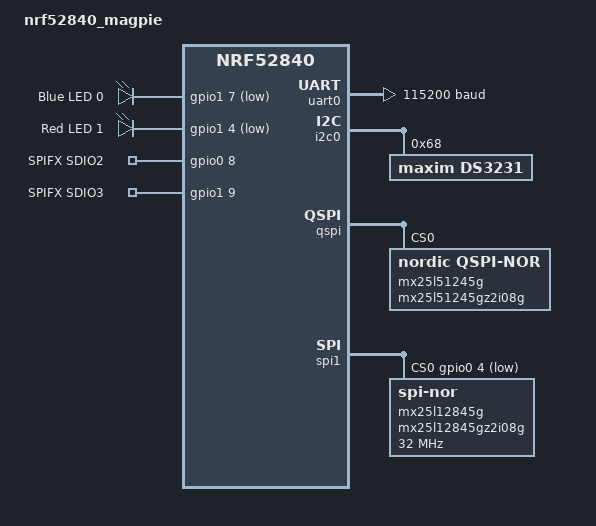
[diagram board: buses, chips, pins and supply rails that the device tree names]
// Copyright (c) 2024 Nordic Semiconductor ASA
// SPDX-License-Identifier: Apache-2.0

/dts-v1/;
#include <nordic/nrf52840_qfaa.dtsi>
#include "nrf52840_magpie-pinctrl.dtsi"

/ {
	model = "nrf52840_magpie";
	compatible = "fanstel,nrf52840-magpie";

	chosen {
		zephyr,console = &uart0;
		zephyr,shell-uart = &uart0;
		zephyr,uart-mcumgr = &uart0;
		zephyr,bt-mon-uart = &uart0;
		zephyr,bt-c2h-uart = &uart0;
		zephyr,sram = &sram0;
		zephyr,flash = &flash0;
		zephyr,code-partition = &slot0_partition;
	};

	leds {
		compatible = "gpio-leds";
		led0: led_0 {
			gpios = <&gpio1 7 GPIO_ACTIVE_LOW>;
			label = "Blue LED 0";
		};
		led1: led_1 {
			gpios = <&gpio1 4 GPIO_ACTIVE_LOW>;
			label = "Red LED 1";
		};
	};

	aliases {
		led0 = &led0;
		led1 = &led1;
		redled = &led1;
		blueled = &led0;
		bootloader-led0 = &led0;
		mcuboot-led0 = &led0;
		watchdog0 = &wdt0;
		qspi-flash0 = &mx25l51245g;
		spi-flash0 = &mx25l12845g;
		rtc = &ds3231;
	};

	/* GPIO configuration for SPIFX additional pins (SDIO2 and SDIO3) */
	spifx_extra_gpios {
		compatible = "gpio-keys";
		spifx_io2: spifx_io2 {
			gpios = <&gpio0 8 GPIO_ACTIVE_HIGH>;
			label = "SPIFX SDIO2";
		};
		spifx_io3: spifx_io3 {
			gpios = <&gpio1 9 GPIO_ACTIVE_HIGH>;
			label = "SPIFX SDIO3";
		};
	};
};

&gpiote {
	status = "okay";
};

&gpio0 {
	status = "okay";
};

&gpio1 {
	status = "okay";
};

&uart0 {
	status = "okay";
	compatible = "nordic,nrf-uarte";
	current-speed = <115200>;
	pinctrl-0 = <&uart0_default>;
	pinctrl-1 = <&uart0_sleep>;
	pinctrl-names = "default", "sleep";
};

&i2c0 {
	compatible = "nordic,nrf-twi";
	status = "okay";
	pinctrl-0 = <&i2c0_default>;
	pinctrl-1 = <&i2c0_sleep>;
	pinctrl-names = "default", "sleep";
	
	ds3231: ds3231@68 {
		compatible = "maxim,ds3231";
		reg = <0x68>;
		status = "okay";
	};
};

/* QSPI interface for mx25l51245gz2i-08g (64MB) */
&qspi {
	status = "okay";
	pinctrl-0 = <&qspi_default>;
	pinctrl-1 = <&qspi_sleep>;
	pinctrl-names = "default", "sleep";
	
	mx25l51245g: mx25l51245gz2i08g@0 {
		compatible = "nordic,qspi-nor";
		reg = <0>;
		/* MX25L51245G supports up to 133MHz */
		sck-frequency = <32000000>;
		quad-enable-requirements = "S1B6";
		jedec-id = [c2 20 1a];
		sfdp-bfp = [
			e5 20 f1 ff  ff ff ff 03  44 eb 08 6b  08 3b 04 bb
			ee ff ff ff  ff ff 00 ff  ff ff 00 ff  0c 20 0f 52
			10 d8 00 ff  23 72 f5 00  82 ed 04 cc  44 83 68 44
			30 b0 30 b0  f7 c4 d5 5c  00 be 29 ff  f0 d0 ff ff
		];
		size = <536870912>;  /* 64MB = 512Mbit */
		has-dpd;
		t-enter-dpd = <10000>;
		t-exit-dpd = <35000>;
	};
};

/* SPI1 interface for mx25l12845gz2i-08g (16MB) - will be used in QSPI mode via software */
&spi1 {
	compatible = "nordic,nrf-spi";
	status = "okay";
	cs-gpios = <&gpio0 4 GPIO_ACTIVE_LOW>;
	pinctrl-0 = <&spi1_default>;
	pinctrl-1 = <&spi1_sleep>;
	pinctrl-names = "default", "sleep";
	
	mx25l12845g: mx25l12845gz2i08g@0 {
		compatible = "jedec,spi-nor";
		reg = <0>;
		spi-max-frequency = <32000000>;
		jedec-id = [c2 20 18];
		size = <134217728>;  /* 16MB = 128Mbit */
		has-dpd;
		t-enter-dpd = <10000>;
		t-exit-dpd = <35000>;
	};
};

&flash0 {
	partitions {
		compatible = "fixed-partitions";
		#address-cells = <1>;
		#size-cells = <1>;

		boot_partition: partition@0 {
			label = "mcuboot";
			reg = <0x0 0x10000>;
		};
		slot0_partition: partition@10000 {
			label = "image-0";
			reg = <0x10000 0x70000>;
		};
		slot1_partition: partition@80000 {
			label = "image-1";
			reg = <0x80000 0x70000>;
		};
		scratch_partition: partition@f0000 {
			label = "image-scratch";
			reg = <0xf0000 0x8000>;
		};
		storage_partition: partition@f8000 {
			label = "storage";
			reg = <0xf8000 0x8000>;
		};
	};
};
